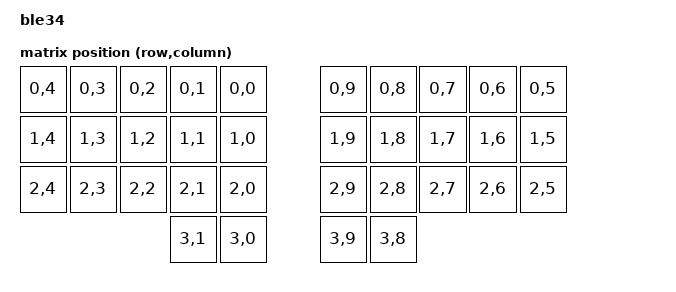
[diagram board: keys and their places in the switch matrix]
/*
*
* Copyright (c) 2023 The ZMK Contributors
* SPDX-License-Identifier: MIT
*
*/


/dts-v1/;
#include <nordic/nrf52840_qiaa.dtsi>
// #include <physical_layouts.dtsi>
#include <ble34_layout.dtsi>
#include <dt-bindings/zmk/matrix_transform.h>

&pinctrl {
};

/ {
    model = "ble34";
    compatible = "Egg,ble34";

    chosen {
        zephyr,code-partition = &code_partition;
        zephyr,sram = &sram0;
        zephyr,flash = &flash0;

        // zephyr,console = &zephyr_udc0;


        zmk,kscan = &kscan0;
        zmk,battery = &vbatt;
        // zmk,matrix-transform = &default_transform;
    };

    leds {
        compatible = "gpio-leds";
        yellow_led: led_0 {
            gpios = <&gpio0 2 GPIO_ACTIVE_HIGH>;
        };
    };

    default_transform: keymap_transform_0 {
        compatible = "zmk,matrix-transform";
        columns = <10>;
        rows = <4>;


        // map = <
        //     RC(0,0) RC(0,1) RC(0,2) RC(0,3) RC(0,4)          RC(0,5) RC(0,6) RC(0,7) RC(0,8) RC(0,9)
        //     RC(1,0) RC(1,1) RC(1,2) RC(1,3) RC(1,4)          RC(1,5) RC(1,6) RC(1,7) RC(1,8) RC(1,9)
        //     RC(2,0) RC(2,1) RC(2,2) RC(2,3) RC(2,4)          RC(2,5) RC(2,6) RC(2,7) RC(2,8) RC(2,9)
        //                             RC(3,3) RC(3,4)          RC(3,5) RC(3,6)
        // >;

        map = <
            RC(0,4) RC(0,3) RC(0,2) RC(0,1) RC(0,0)          RC(0,9) RC(0,8) RC(0,7) RC(0,6) RC(0,5)
            RC(1,4) RC(1,3) RC(1,2) RC(1,1) RC(1,0)          RC(1,9) RC(1,8) RC(1,7) RC(1,6) RC(1,5)
            RC(2,4) RC(2,3) RC(2,2) RC(2,1) RC(2,0)          RC(2,9) RC(2,8) RC(2,7) RC(2,6) RC(2,5)
                                    RC(3,1) RC(3,0)          RC(3,9) RC(3,8)
        >;
    };

    vbatt: vbatt {
        compatible = "zmk,battery-nrf-vddh";
        output-ohms = <2200000>;
        // full-ohms = <(806000 + 2000000)>;
    };
};

&physical_layout0 {
    // kscan = <&kscan0>; // Label of the kscan node this layout uses
    transform = <&default_transform>; // Label of the matrix transform this layout uses
};

zephyr_udc0: &usbd {
    status = "okay";
};

&adc {
    status = "okay";
};

&gpiote {
    status = "okay";
};

&gpio0 {
    status = "okay";
};

&gpio1 {
    status = "okay";
};


&flash0 {
	partitions {
		compatible = "fixed-partitions";
		#address-cells = <1>;
		#size-cells = <1>;

        mbr_partition: partition@0 {
			reg = <0x0 DT_SIZE_K(4)>;
		};


        code_partition: partition@1000 {
			label = "code_partition";
			reg = <DT_SIZE_K(4) DT_SIZE_K(844)>;
		};

		// /*
		//  * Storage partition will be used by FCB/LittleFS/NVS
		//  * if enabled.
		//  * See https://docs.nordicsemi.com/bundle/ncs-latest/page/zephyr/services/storage/nvs/nvs.html#flash_wear
		//  */
		storage_partition: partition@d4000 {
			reg = <DT_SIZE_K(848) DT_SIZE_K(128)>;
		};

		// Address 0xf4000 is hardcoded at https://github.com/adafruit/Adafruit_nRF52_Bootloader/blob/master/linker/nrf52840.ld
		// last build took 31612 bytes
		// TODO: MCUBoot?
		boot_partition: partition@f4000 {
			// label = "adafruit_boot"; // 48kb
			reg = <DT_SIZE_K(976) DT_SIZE_K(48)>;
        };

	};
};
